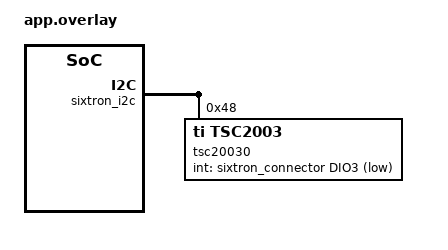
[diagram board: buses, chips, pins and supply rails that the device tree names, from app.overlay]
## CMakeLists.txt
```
# Copyright (c) 2024 CATIE
# SPDX-License-Identifier: Apache-2.0

cmake_minimum_required(VERSION 3.20.0)
find_package(Zephyr REQUIRED HINTS $ENV{ZEPHYR_BASE})
project(tsc2003)

FILE(GLOB app_sources src/main.c)
target_sources(app PRIVATE ${app_sources})
```

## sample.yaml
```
sample:
  name: TSC2003 touchscreen sample
tests:
  sample.default:
    tags: touchscreen
    integration_platforms:
      - zest_core_stm32l4a6rg
    depends_on: i2c
    extra_args: DTC_OVERLAY_FILE=sixtron_bus.overlay
```

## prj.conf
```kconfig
CONFIG_LOG=y

CONFIG_INPUT=y
CONFIG_TSC2003_DEBOUNCE_MS=200

CONFIG_INPUT_LOG_LEVEL_INF=y
```

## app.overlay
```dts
/*
 * Copyright (c) 2024 CATIE
 *
 * SPDX-License-Identifier: Apache-2.0
 */

#include <zephyr/dt-bindings/gpio/sixtron-header.h>

/ {
	chosen {
		zephyr,touch = &tsc20030;
	};

 };

 &sixtron_i2c {
	 status = "okay";

	 tsc20030: tsc2003@48 {
        compatible = "ti,tsc2003";
        reg = <0x48>;
        /* Define PENIRQ for touch detection if needed */
        int-gpios = <&sixtron_connector DIO3 GPIO_ACTIVE_LOW>;  /* D3 */
        screen_width = <128>;
        screen_height = <160>;
        inverted_x;
        inverted_y;
	 };
 };
```

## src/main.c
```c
/*
 * Copyright (c) 2024, CATIE
 * SPDX-License-Identifier: Apache-2.0
 */

#include <zephyr/logging/log.h>
#include <zephyr/kernel.h>
#include <zephyr/device.h>
#include <zephyr/input/input.h>

LOG_MODULE_REGISTER(sample, LOG_LEVEL_INF);

#define REFRESH_RATE 100

static const struct device *const touch_dev = DEVICE_DT_GET(DT_NODELABEL(tsc20030));

static struct k_sem sync;

static struct {
	size_t x;
	size_t y;
	bool pressed;
} touch_point;

static void touch_event_callback(struct input_event *evt, void *user_data)
{
	if (evt->code == INPUT_ABS_X) {
		touch_point.x = evt->value;
	}
	if (evt->code == INPUT_ABS_Y) {
		touch_point.y = evt->value;
	}
	if (evt->code == INPUT_BTN_TOUCH) {
		touch_point.pressed = evt->value;
	}
	if (evt->sync) {
		k_sem_give(&sync);
	}
}

INPUT_CALLBACK_DEFINE(touch_dev, touch_event_callback, NULL);

int main(void)
{
	LOG_INF("Touch sample for touchscreen: %s", touch_dev->name);

	if (!device_is_ready(touch_dev)) {
		LOG_ERR("Device %s not found. Aborting sample.", touch_dev->name);
		return 0;
	}

	k_sem_init(&sync, 0, 1);

	while (1) {
		k_msleep(REFRESH_RATE);
		k_sem_take(&sync, K_FOREVER);
		LOG_INF("TOUCH %s X, Y: (%d, %d)", touch_point.pressed ? "PRESS" : "RELEASE",
			touch_point.x, touch_point.y);
	}

	return 0;
}
```
